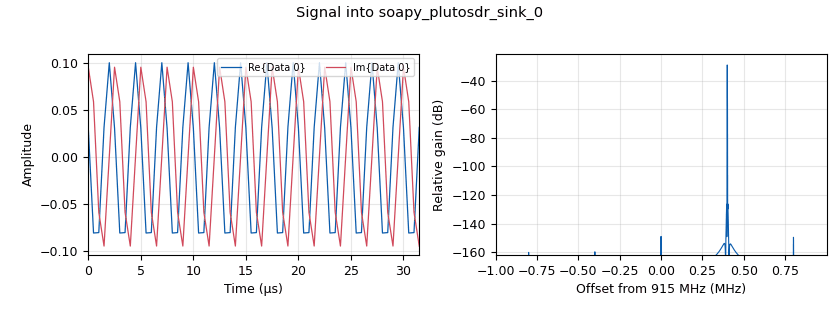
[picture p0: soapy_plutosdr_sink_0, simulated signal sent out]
options:
  parameters:
    generate_options: qt_gui
    id: primary_tx
    output_language: python
    title: Not titled yet
  states: {}

blocks:
- name: freq
  id: variable
  parameters:
    value: '915000000'
  states: {}
- name: samp_rate
  id: variable
  parameters:
    value: 2e6
  states: {}
- name: signal_freq
  id: variable
  parameters:
    value: '400000'
  states: {}
- name: analog_sig_source_x_0
  id: analog_sig_source_x
  parameters:
    amp: '1'
    freq: signal_freq
    offset: '0'
    phase: '0'
    samp_rate: samp_rate
    type: complex
    waveform: analog.GR_COS_WAVE
  states: {}
- name: blocks_multiply_const_vxx_0
  id: blocks_multiply_const_vxx
  parameters:
    const: '0.1'
    type: complex
  states: {}
- name: soapy_plutosdr_sink_0
  id: soapy_plutosdr_sink
  parameters:
    bandwidth: samp_rate
    center_freq: freq
    dev_args: uri = usb:0.4.5
    gain: '0'
    samp_rate: samp_rate
    type: fc32
  states: {}

connections:
- [analog_sig_source_x_0, '0', blocks_multiply_const_vxx_0, '0']
- [blocks_multiply_const_vxx_0, '0', soapy_plutosdr_sink_0, '0']

metadata:
  file_format: 1
  grc_version: 3.10.12.0
